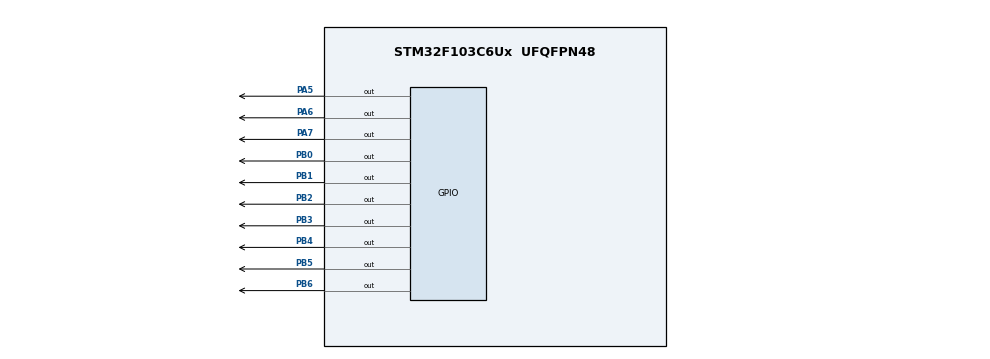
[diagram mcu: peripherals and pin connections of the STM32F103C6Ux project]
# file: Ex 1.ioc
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Mcu.Family=STM32F1
Mcu.Name=STM32F103C6Ux
Mcu.Package=UFQFPN48
NVIC.PriorityGroup=NVIC_PRIORITYGROUP_4
NVIC.TIM2_IRQn=true\:0\:0\:false\:false\:true\:true\:true
PA5.Signal=GPIO_Output
PA6.Signal=GPIO_Output
PA7.Signal=GPIO_Output
PB0.Signal=GPIO_Output
PB1.Signal=GPIO_Output
PB2.Signal=GPIO_Output
PB3.Signal=GPIO_Output
PB4.Signal=GPIO_Output
PB5.Signal=GPIO_Output
PB6.Signal=GPIO_Output
ProjectManager.HeapSize=0x200
ProjectManager.StackSize=0x400
ProjectManager.TargetToolchain=STM32CubeIDE
RCC.APB1Freq_Value=8000000
RCC.APB2Freq_Value=8000000
TIM2.Period=9
TIM2.Prescaler=7999
VP_SYS_VS_ND.Mode=No_Debug
VP_TIM2_VS_ClockSourceINT.Mode=Internal
board=custom

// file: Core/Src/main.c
/* USER CODE BEGIN Header */
/**
  ******************************************************************************
  * @file           : main.c
  * @brief          : Main program body
  ******************************************************************************
  * @attention
  *
  * <h2><center>&copy; Copyright (c) 2026 STMicroelectronics.
  * All rights reserved.</center></h2>
  *
  * This software component is licensed by ST under BSD 3-Clause license,
  * the "License"; You may not use this file except in compliance with the
  * License. You may obtain a copy of the License at:
  *                        opensource.org/licenses/BSD-3-Clause
  *
  ******************************************************************************
  */
/* USER CODE END Header */
#include "main.h"

TIM_HandleTypeDef htim2;

/* USER CODE BEGIN PV */
int timer_counter = 50;
int led_status = 0;
/* USER CODE END PV */

void SystemClock_Config(void);
static void MX_TIM2_Init(void);
static void MX_GPIO_Init(void);

/* USER CODE BEGIN 0 */
uint8_t segment_code[10] = {
    0xC0,
    0xF9,
    0xA4,
    0xB0,
    0x99,
    0x92,
    0x82,
    0xF8,
    0x80,
    0x90
};

void display7SEG(int num) {
    if (num < 0 || num > 9) return;
    uint8_t code = segment_code[num];
    for (int i = 0; i < 7; i++) {
        HAL_GPIO_WritePin(GPIOB, GPIO_PIN_0 << i, (code >> i) & 0x01);
    }
}
/* USER CODE END 0 */

int main(void)
{

  /* MCU Configuration--------------------------------------------------------*/

  /* Reset of all peripherals, Initializes the Flash interface and the Systick. */
  HAL_Init();

  /* Configure the system clock */
  SystemClock_Config();

  /* Initialize all configured peripherals */
  MX_TIM2_Init();
  MX_GPIO_Init();
  /* USER CODE BEGIN 2 */
  HAL_TIM_Base_Start_IT(&htim2);
  /* USER CODE END 2 */

  /* Infinite loop */
  while (1)
  {

  }
}

void SystemClock_Config(void)
{
  RCC_OscInitTypeDef RCC_OscInitStruct = {0};
  RCC_ClkInitTypeDef RCC_ClkInitStruct = {0};

  /** Initializes the RCC Oscillators according to the specified parameters
  * in the RCC_OscInitTypeDef structure.
  */
  RCC_OscInitStruct.OscillatorType = RCC_OSCILLATORTYPE_HSI;
  RCC_OscInitStruct.HSIState = RCC_HSI_ON;
  RCC_OscInitStruct.HSICalibrationValue = RCC_HSICALIBRATION_DEFAULT;
  RCC_OscInitStruct.PLL.PLLState = RCC_PLL_NONE;
  if (HAL_RCC_OscConfig(&RCC_OscInitStruct) != HAL_OK)
  {
    Error_Handler();
  }
  /** Initializes the CPU, AHB and APB buses clocks
  */
  RCC_ClkInitStruct.ClockType = RCC_CLOCKTYPE_HCLK|RCC_CLOCKTYPE_SYSCLK
                              |RCC_CLOCKTYPE_PCLK1|RCC_CLOCKTYPE_PCLK2;
  RCC_ClkInitStruct.SYSCLKSource = RCC_SYSCLKSOURCE_HSI;
  RCC_ClkInitStruct.AHBCLKDivider = RCC_SYSCLK_DIV1;
  RCC_ClkInitStruct.APB1CLKDivider = RCC_HCLK_DIV1;
  RCC_ClkInitStruct.APB2CLKDivider = RCC_HCLK_DIV1;

  if (HAL_RCC_ClockConfig(&RCC_ClkInitStruct, FLASH_LATENCY_0) != HAL_OK)
  {
    Error_Handler();
  }
}

static void MX_TIM2_Init(void)
{

  TIM_ClockConfigTypeDef sClockSourceConfig = {0};
  TIM_MasterConfigTypeDef sMasterConfig = {0};

  htim2.Instance = TIM2;
  htim2.Init.Prescaler = 7999;
  htim2.Init.CounterMode = TIM_COUNTERMODE_UP;
  htim2.Init.Period = 9;
  htim2.Init.ClockDivision = TIM_CLOCKDIVISION_DIV1;
  htim2.Init.AutoReloadPreload = TIM_AUTORELOAD_PRELOAD_DISABLE;
  if (HAL_TIM_Base_Init(&htim2) != HAL_OK)
  {
    Error_Handler();
  }
  sClockSourceConfig.ClockSource = TIM_CLOCKSOURCE_INTERNAL;
  if (HAL_TIM_ConfigClockSource(&htim2, &sClockSourceConfig) != HAL_OK)
  {
    Error_Handler();
  }
  sMasterConfig.MasterOutputTrigger = TIM_TRGO_RESET;
  sMasterConfig.MasterSlaveMode = TIM_MASTERSLAVEMODE_DISABLE;
  if (HAL_TIMEx_MasterConfigSynchronization(&htim2, &sMasterConfig) != HAL_OK)
  {
    Error_Handler();
  }

}

static void MX_GPIO_Init(void)
{
  GPIO_InitTypeDef GPIO_InitStruct = {0};

  /* GPIO Ports Clock Enable */
  __HAL_RCC_GPIOA_CLK_ENABLE();
  __HAL_RCC_GPIOB_CLK_ENABLE();

  /*Configure GPIO pin Output Level */
  HAL_GPIO_WritePin(GPIOA, GPIO_PIN_5|GPIO_PIN_6|GPIO_PIN_7, GPIO_PIN_RESET);

  /*Configure GPIO pin Output Level */
  HAL_GPIO_WritePin(GPIOB, GPIO_PIN_0|GPIO_PIN_1|GPIO_PIN_2|GPIO_PIN_3
                          |GPIO_PIN_4|GPIO_PIN_5|GPIO_PIN_6, GPIO_PIN_RESET);

  /*Configure GPIO pins : PA5 PA6 PA7 */
  GPIO_InitStruct.Pin = GPIO_PIN_5|GPIO_PIN_6|GPIO_PIN_7;
  GPIO_InitStruct.Mode = GPIO_MODE_OUTPUT_PP;
  GPIO_InitStruct.Pull = GPIO_NOPULL;
  GPIO_InitStruct.Speed = GPIO_SPEED_FREQ_LOW;
  HAL_GPIO_Init(GPIOA, &GPIO_InitStruct);

  /*Configure GPIO pins : PB0 PB1 PB2 PB3
                           PB4 PB5 PB6 */
  GPIO_InitStruct.Pin = GPIO_PIN_0|GPIO_PIN_1|GPIO_PIN_2|GPIO_PIN_3
                          |GPIO_PIN_4|GPIO_PIN_5|GPIO_PIN_6;
  GPIO_InitStruct.Mode = GPIO_MODE_OUTPUT_PP;
  GPIO_InitStruct.Pull = GPIO_NOPULL;
  GPIO_InitStruct.Speed = GPIO_SPEED_FREQ_LOW;
  HAL_GPIO_Init(GPIOB, &GPIO_InitStruct);

}

/* USER CODE BEGIN 4 */
void HAL_TIM_PeriodElapsedCallback(TIM_HandleTypeDef *htim) {
    if (htim->Instance == TIM2) {
        timer_counter--;
        if (timer_counter <= 0) {
            timer_counter = 50;

            if (led_status == 0) {
                HAL_GPIO_WritePin(GPIOA, GPIO_PIN_6, GPIO_PIN_RESET);
                HAL_GPIO_WritePin(GPIOA, GPIO_PIN_7, GPIO_PIN_SET);
                display7SEG(1);
                led_status = 1;
            } else {
                HAL_GPIO_WritePin(GPIOA, GPIO_PIN_6, GPIO_PIN_SET);
                HAL_GPIO_WritePin(GPIOA, GPIO_PIN_7, GPIO_PIN_RESET);
                display7SEG(2);
                led_status = 0;
            }
        }
    }
}
/* USER CODE END 4 */

void Error_Handler(void)
{
  __disable_irq();
  while (1)
  {
  }
}

/************************ (C) COPYRIGHT STMicroelectronics *****END OF FILE****/
